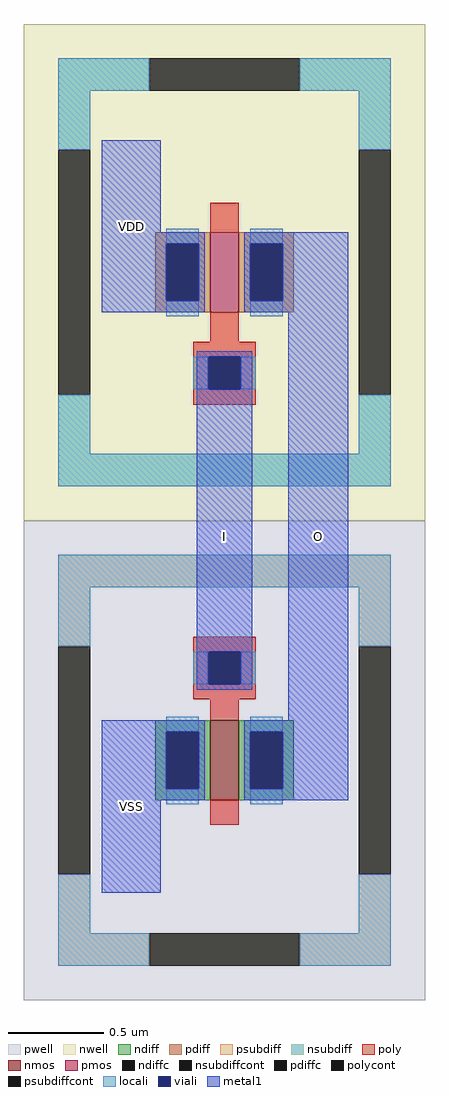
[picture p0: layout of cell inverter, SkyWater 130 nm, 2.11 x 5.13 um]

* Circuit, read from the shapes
.subckt inverter VDD VSS I O
XM1 O I VSS VSUBS sky130_fd_pr__nfet_01v8 w=0.42 l=0.15
XM2 O I VDD n1 sky130_fd_pr__pfet_01v8 w=0.42 l=0.15
.ends

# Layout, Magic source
magic
tech sky130A
magscale 1 2
<< metal1 >>
rect 12 149 74 330
rect 112 -202 170 62
rect 12 -461 74 -280
rect 208 -364 271 233
use sky130_fd_pr__nfet_01v8_EDB9KC *sky130_fd_pr__nfet_01v8_EDB9KC_0
transform 1 0 141 0 1 -322
box -211 -252 211 252
use sky130_fd_pr__pfet_01v8_M479BZ  sky130_fd_pr__pfet_01v8_M479BZ_0
transform 1 0 141 0 1 191
box -211 -261 211 261
<< labels >>
flabel metal1 12 149 74 330 0 FreeMono 160 90 0 0 VDD
port 1 nsew
flabel metal1 12 -461 74 -280 0 FreeMono 160 90 0 0 VSS
port 2 nsew
flabel metal1 112 -140 170 -34 0 FreeMono 160 0 0 0 I
port 3 nsew
flabel metal1 208 -140 271 -34 0 FreeMono 160 0 0 0 O
port 4 nsew
<< end >>

# cell sky130_fd_pr__nfet_01v8_EDB9KC: kit device sky130_fd_pr__nfet_01v8, w 0.420 l 0.150 m 1 nf 1 diffcov 100 polycov 100 guard 1 glc 1 grc 1 gtc 1 gbc 1 tbcov 100 rlcov 100 topc 1 botc 1 poverlap 0 doverlap 1 lmin 0.15 wmin 0.42 compatible {sky130_fd_pr__nfet_01v8 sky130_fd_pr__nfet_01v8_lvt sky130_fd_bs_flash__special_sonosfet_star sky130_fd_pr__nfet_g5v0d10v5 sky130_fd_pr__nfet_05v0_nvt sky130_fd_pr__nfet_03v3_nvt} full_metal 1 viasrc 100 viadrn 100 viagate 100 viagb 0 viagr 0 viagl 0 viagt 0

# cell sky130_fd_pr__pfet_01v8_M479BZ: kit device sky130_fd_pr__pfet_01v8, w 0.42 l 0.15 m 1 nf 1 diffcov 100 polycov 100 guard 1 glc 1 grc 1 gtc 1 gbc 1 tbcov 100 rlcov 100 topc 1 botc 1 poverlap 0 doverlap 1 lmin 0.15 wmin 0.42 compatible {sky130_fd_pr__pfet_01v8 sky130_fd_pr__pfet_01v8_lvt sky130_fd_pr__pfet_01v8_hvt sky130_fd_pr__pfet_g5v0d10v5} full_metal 1 viasrc 100 viadrn 100 viagate 100 viagb 0 viagr 0 viagl 0 viagt 0
